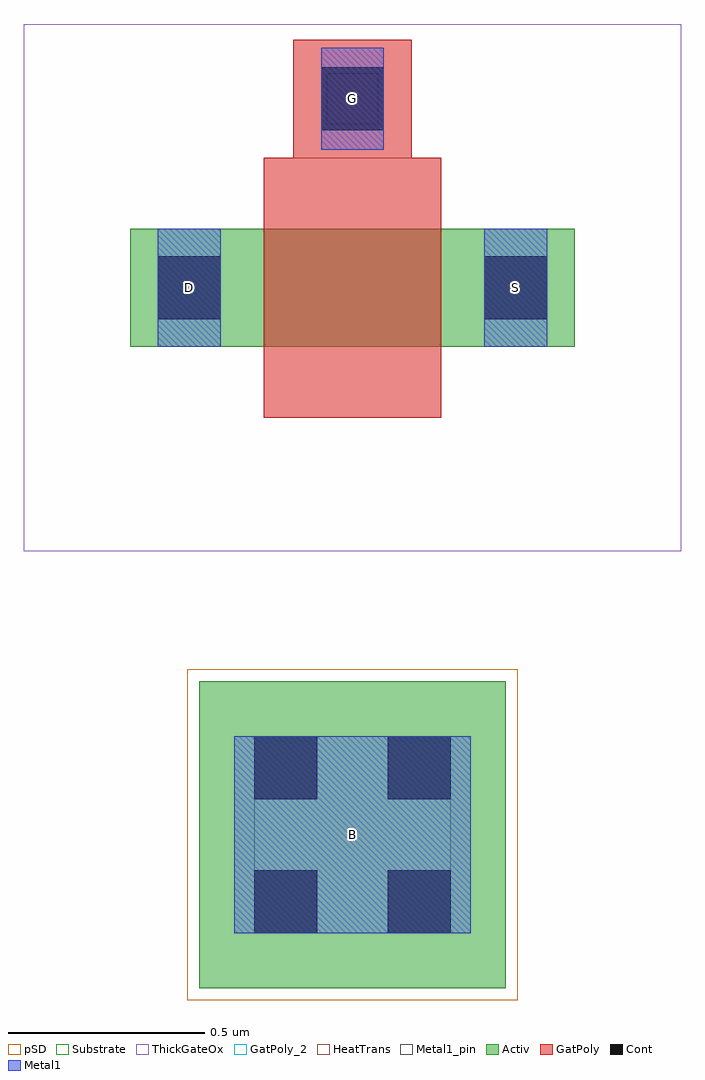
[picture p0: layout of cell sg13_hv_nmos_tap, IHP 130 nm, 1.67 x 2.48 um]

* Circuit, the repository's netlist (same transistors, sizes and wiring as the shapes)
** sch_path: /foss/designs/ihp-open-pdk-regression/LVS-testbenches/schematic/sg13_hv_nmos_tap.sch
.subckt sg13_hv_nmos_tap D S G B
*.PININFO D:B S:B G:B B:B
RR1 B net1 ptap1 A=6.084e-13 P=3.12e-06
MM1 D G S net1 sg13_hv_nmos w=0.3u l=0.45u ng=1
.ends

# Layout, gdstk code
from math import pi, radians
import gdstk
lib = gdstk.Library(unit=1e-6, precision=1e-09)
def R(c, l, rs):  # rectangles x0, y0, x1, y1
    for r in rs: c.add(gdstk.rectangle(r[:2], r[2:], *l))
Activ = (1, 0)
GatPoly = (5, 0)
GatPoly_2 = (5, 2)
Cont = (6, 0)
Metal1 = (8, 0)
Metal1_pin = (8, 2)
pSD = (14, 0)
Substrate = (40, 0)
ThickGateOx = (44, 0)
HeatTrans = (51, 0)

nmoshv = lib.new_cell('nmosHV')
R(nmoshv, Activ, [(0,0,0.3,0.3), (0,0,1.13,0.3), (0.83,0,1.13,0.3)])
R(nmoshv, GatPoly, [(0.34,-0.18,0.79,0.48)])
R(nmoshv, GatPoly_2, [(0.34,-0.18,0.79,0.48)])
R(nmoshv, Cont, [(0.07,0.07,0.23,0.23), (0.9,0.07,1.06,0.23)])
R(nmoshv, Metal1, [(0.07,0,0.23,0.3), (0.9,0,1.06,0.3)])
R(nmoshv, Metal1_pin, [(0.07,0,0.23,0.3), (0.9,0,1.06,0.3)])
R(nmoshv, ThickGateOx, [(-0.27,-0.52,1.4,0.82)])
R(nmoshv, HeatTrans, [(0.34,-0.18,0.79,0.48)])
nmoshv.add(gdstk.Label('nmosHV', (0.565,0.15), layer=63, texttype=0))
nmoshv.add(gdstk.Label('nmosHV', (0.565,0.15), layer=51, texttype=0))

via = lib.new_cell('Via')
R(via, GatPoly, [(-0.15,-0.15,0.15,0.15)])
R(via, Cont, [(-0.08,-0.08,0.08,0.08)])
R(via, Metal1, [(-0.13,-0.08,0.13,0.08)])

ptap1 = lib.new_cell('ptap1')
R(ptap1, Activ, [(0,0,0.78,0.78)])
R(ptap1, Cont, [(0.14,0.14,0.3,0.3), (0.48,0.14,0.64,0.3), (0.14,0.48,0.3,0.64), (0.48,0.48,0.64,0.64)])
R(ptap1, Metal1, [(0.14,0.09,0.64,0.69), (0.14,0.14,0.64,0.64)])
R(ptap1, Metal1_pin, [(0.14,0.14,0.64,0.64)])
R(ptap1, pSD, [(-0.03,-0.03,0.81,0.81)])
R(ptap1, Substrate, [(0,0,0.78,0.78)])
ptap1.add(gdstk.Label('sub!', (0.39,0.01), layer=63, texttype=0))
ptap1.add(gdstk.Label('sub!', (0.39,0.01), layer=40, texttype=0))

sg13_hv_nmos_tap = lib.new_cell('sg13_hv_nmos_tap')
R(sg13_hv_nmos_tap, Metal1_pin, [(0.77,-0.485,0.9,-0.355), (0.355,0.905,0.485,1.035), (1.185,0.905,1.315,1.035), (0.77,1.385,0.9,1.515)])
sg13_hv_nmos_tap.add(gdstk.Reference(nmoshv, (1.4,1.12), rotation=pi))
sg13_hv_nmos_tap.add(gdstk.Reference(via, (0.835,1.45), rotation=3*pi/2))
sg13_hv_nmos_tap.add(gdstk.Reference(ptap1, (0.445,-0.03), rotation=3*pi/2))
sg13_hv_nmos_tap.add(gdstk.Label('D', (0.42,0.97), layer=8, texttype=25))
sg13_hv_nmos_tap.add(gdstk.Label('S', (1.25,0.97), layer=8, texttype=25))
sg13_hv_nmos_tap.add(gdstk.Label('B', (0.835,-0.42), layer=8, texttype=25))
sg13_hv_nmos_tap.add(gdstk.Label('G', (0.835,1.45), layer=8, texttype=25))

lib.write_gds('sg13_hv_nmos_tap.gds')
